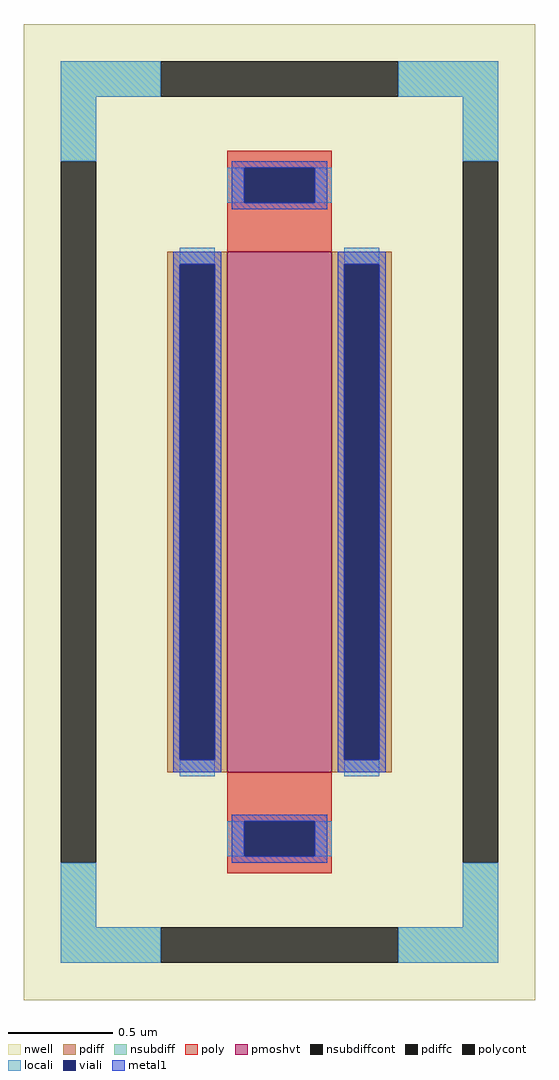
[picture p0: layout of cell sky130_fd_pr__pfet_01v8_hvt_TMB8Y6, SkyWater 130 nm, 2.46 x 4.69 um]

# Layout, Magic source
magic
tech sky130A
magscale 1 2
<< nwell >>
rect -246 -469 246 469
<< pmoshvt >>
rect -50 -250 50 250
<< pdiff >>
rect -108 238 -50 250
rect -108 -238 -96 238
rect -62 -238 -50 238
rect -108 -250 -50 -238
rect 50 238 108 250
rect 50 -238 62 238
rect 96 -238 108 238
rect 50 -250 108 -238
<< pdiffc >>
rect -96 -238 -62 238
rect 62 -238 96 238
<< nsubdiff >>
rect -210 399 -114 433
rect 114 399 210 433
rect -210 337 -176 399
rect 176 337 210 399
rect -210 -399 -176 -337
rect 176 -399 210 -337
rect -210 -433 -114 -399
rect 114 -433 210 -399
<< nsubdiffcont >>
rect -114 399 114 433
rect -210 -337 -176 337
rect 176 -337 210 337
rect -114 -433 114 -399
<< poly >>
rect -50 331 50 347
rect -50 297 -34 331
rect 34 297 50 331
rect -50 250 50 297
rect -50 -297 50 -250
rect -50 -331 -34 -297
rect 34 -331 50 -297
rect -50 -347 50 -331
<< polycont >>
rect -34 297 34 331
rect -34 -331 34 -297
<< locali >>
rect -210 399 -114 433
rect 114 399 210 433
rect -210 337 -176 399
rect 176 337 210 399
rect -50 297 -34 331
rect 34 297 50 331
rect -96 238 -62 254
rect -96 -254 -62 -238
rect 62 238 96 254
rect 62 -254 96 -238
rect -50 -331 -34 -297
rect 34 -331 50 -297
rect -210 -399 -176 -337
rect 176 -399 210 -337
rect -210 -433 -114 -399
rect 114 -433 210 -399
<< viali >>
rect -34 297 34 331
rect -96 -238 -62 238
rect 62 -238 96 238
rect -34 -331 34 -297
<< metal1 >>
rect -46 331 46 337
rect -46 297 -34 331
rect 34 297 46 331
rect -46 291 46 297
rect -102 238 -56 250
rect -102 -238 -96 238
rect -62 -238 -56 238
rect -102 -250 -56 -238
rect 56 238 102 250
rect 56 -238 62 238
rect 96 -238 102 238
rect 56 -250 102 -238
rect -46 -297 46 -291
rect -46 -331 -34 -297
rect 34 -331 46 -297
rect -46 -337 46 -331
<< properties >>
string FIXED_BBOX -193 -416 193 416
string gencell sky130_fd_pr__pfet_01v8_hvt
string library sky130
string parameters w 2.5 l 0.5 m 1 nf 1 diffcov 100 polycov 100 guard 1 glc 1 grc 1 gtc 1 gbc 1 tbcov 100 rlcov 100 topc 1 botc 1 poverlap 0 doverlap 1 lmin 0.15 wmin 0.42 compatible {sky130_fd_pr__pfet_01v8  sky130_fd_pr__pfet_01v8_lvt sky130_fd_pr__pfet_01v8_hvt  sky130_fd_pr__pfet_g5v0d10v5} full_metal 1 viasrc 100 viadrn 100 viagate 100 viagb 0 viagr 0 viagl 0 viagt 0
<< end >>
